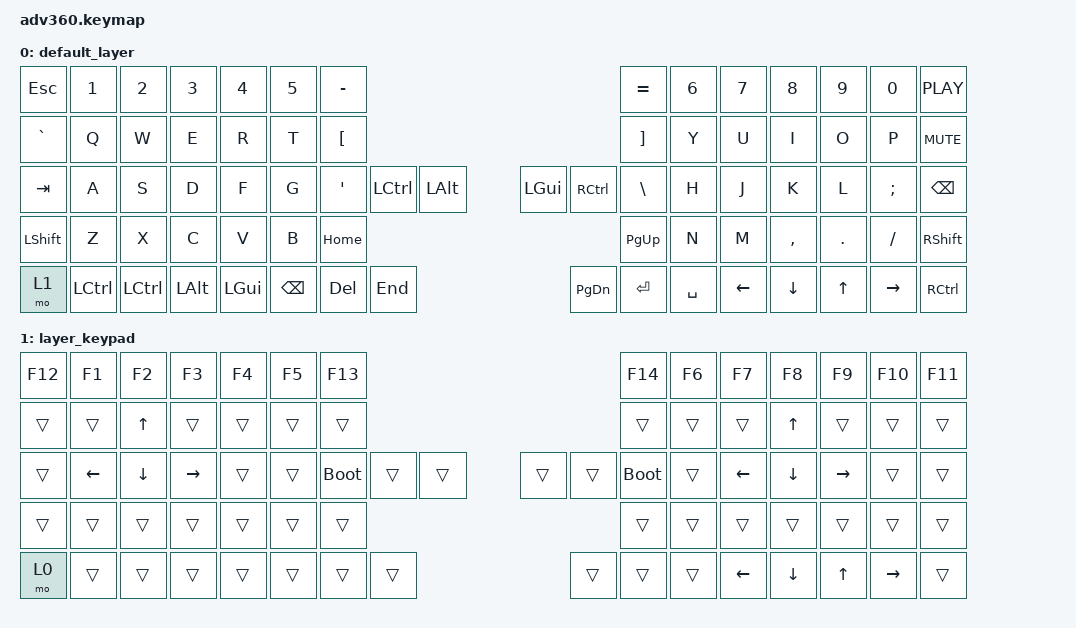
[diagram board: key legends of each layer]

/*
 * Copyright (c) 2020 The ZMK Contributors
 *
 * SPDX-License-Identifier: MIT
 */


/* THIS FILE WAS GENERATED!
 *
 * This file was generated automatically. You may or may not want to
 * edit it directly.
 */

#include <behaviors.dtsi>
#include <dt-bindings/zmk/keys.h>

/ {
  behaviors {
    #include "macros.dtsi"
    #include "version.dtsi"

    hm: homerow_mods {
        compatible = "zmk,behavior-hold-tap";
        label = "HOMEROW_MODS";
        #binding-cells = <2>;
        tapping-term-ms = <200>;
        quick_tap_ms = <175>;
        flavor = "tap-preferred";
        bindings = <&kp>, <&kp>;
    };
  };

    keymap {
        compatible = "zmk,keymap";


        default_layer {
            bindings = <
 &kp ESCAPE            &kp N1            &kp N2    &kp N3    &kp N4  &kp N5                   &kp MINUS                                                                     &kp EQUAL  &kp N6          &kp N7          &kp N8        &kp N9           &kp N0         &kp C_PLAY
  &kp GRAVE             &kp Q             &kp W     &kp E     &kp R   &kp T            &kp LEFT_BRACKET                                                             &kp RIGHT_BRACKET   &kp Y           &kp U           &kp I         &kp O            &kp P         &kp C_MUTE
    &kp TAB             &kp A             &kp S     &kp D     &kp F   &kp G            &kp SINGLE_QUOTE  &kp LCTRL  &kp LALT                   &kp LGUI  &kp RCTRL      &kp BACKSLASH   &kp H           &kp J           &kp K         &kp L         &kp SEMI      &kp BACKSPACE
  &kp LSHFT             &kp Z             &kp X     &kp C     &kp V   &kp B                                         &kp HOME                  &kp PG_UP                                 &kp N           &kp M       &kp COMMA       &kp DOT         &kp FSLH          &kp RSHFT
      &mo 1  &kp LEFT_CONTROL  &kp LEFT_CONTROL  &kp LALT  &kp LGUI                            &kp BSPC    &kp DEL   &kp END                  &kp PG_DN  &kp ENTER          &kp SPACE          &kp LEFT_ARROW  &kp DOWN_ARROW  &kp UP_ARROW  &kp RIGHT_ARROW  &kp RIGHT_CONTROL
            >;
        };

        layer_keypad {
            bindings = <
 &kp F12          &kp F1          &kp F2           &kp F3  &kp F4  &kp F5                &kp F13                                                      &kp F14  &kp F6          &kp F7          &kp F8           &kp F9          &kp F10  &kp F11
  &trans          &trans    &kp UP_ARROW           &trans  &trans  &trans                 &trans                                                       &trans  &trans          &trans    &kp UP_ARROW           &trans           &trans   &trans
  &trans  &kp LEFT_ARROW  &kp DOWN_ARROW  &kp RIGHT_ARROW  &trans  &trans            &bootloader  &trans  &trans                  &trans  &trans  &bootloader  &trans  &kp LEFT_ARROW  &kp DOWN_ARROW  &kp RIGHT_ARROW           &trans   &trans
  &trans          &trans          &trans           &trans  &trans  &trans                                 &trans                  &trans                       &trans          &trans          &trans           &trans           &trans   &trans
   &mo 0          &trans          &trans           &trans  &trans                         &trans  &trans  &trans                  &trans  &trans       &trans          &kp LEFT_ARROW  &kp DOWN_ARROW     &kp UP_ARROW  &kp RIGHT_ARROW   &trans
            >;
        };

    };
};
